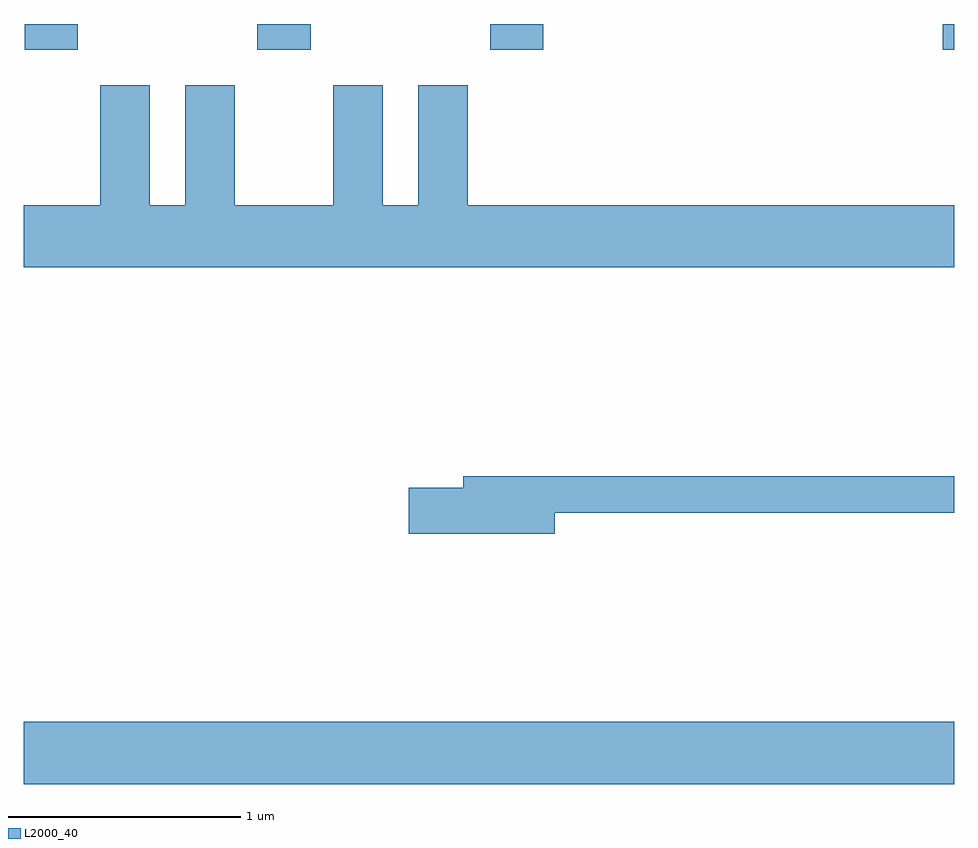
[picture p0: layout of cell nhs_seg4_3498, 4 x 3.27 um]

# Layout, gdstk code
import gdstk
lib = gdstk.Library(unit=1e-6, precision=1e-09)
def R(c, l, rs):  # rectangles x0, y0, x1, y1
    for r in rs: c.add(gdstk.rectangle(r[:2], r[2:], *l))
def A(c, l, x, y, w, h, nx, ny, dx, dy):  # array of equal rectangles
    R(c, l, [(x+i*dx, y+j*dy, x+i*dx+w, y+j*dy+h) for i in range(nx) for j in range(ny)])
def P(c, l, *ps):  # polygons
    for p in ps: c.add(gdstk.Polygon(p, *l))
L2000_40 = (2000, 40)

nhs_seg4_3498 = lib.new_cell('nhs_seg4_3498')
A(nhs_seg4_3498, L2000_40, 287.616, 1317.871, 0.228, 0.111, 3, 1, 1, 0)
R(nhs_seg4_3498, L2000_40, [(287.611,1314.716,291.611,1314.984), (291.561,1317.871,291.611,1317.982)])
P(nhs_seg4_3498, L2000_40, [(291.611,1317.204),(289.519,1317.204),(289.519,1317.719),(289.306,1317.719),(289.306,1317.204),(289.154,1317.204),(289.154,1317.719),(288.941,1317.719),(288.941,1317.204),(288.519,1317.204),(288.519,1317.719),(288.306,1317.719),(288.306,1317.204),(288.154,1317.204),(288.154,1317.719),(287.941,1317.719),(287.941,1317.204),(287.611,1317.204),(287.611,1316.936),(291.611,1316.936)],
  [(289.894,1315.881),(291.611,1315.881),(291.611,1316.039),(289.501,1316.039),(289.501,1315.989),(289.266,1315.989),(289.266,1315.791),(289.894,1315.791)])

lib.write_gds('nhs_seg4_3498.gds')
